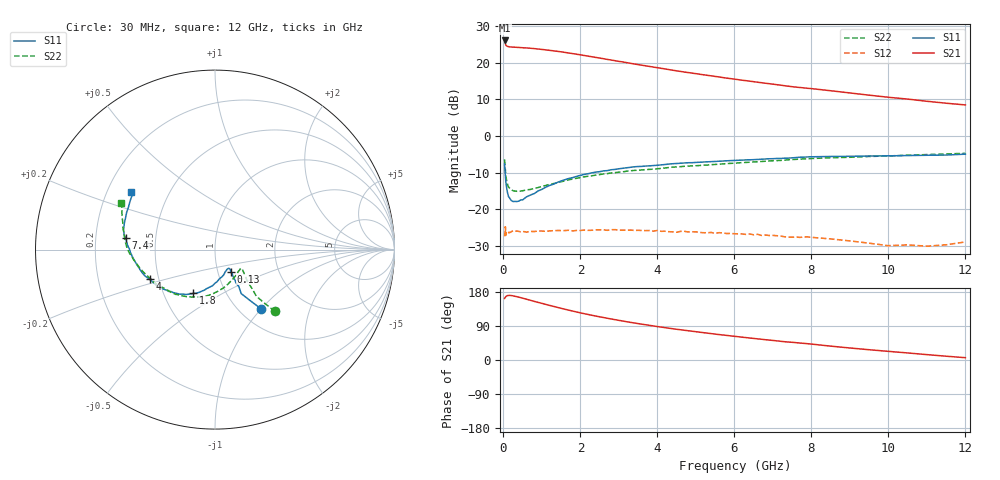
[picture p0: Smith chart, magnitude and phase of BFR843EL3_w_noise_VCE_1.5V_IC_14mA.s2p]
! Infineon Technologies  Discrete & RF Semiconductors
! BFR843EL3
! VCE =  1.5 V,  IC =  14 mA
! Common Emitter S-Parameters:  Aug 2013
# GHz  S  MA  R  50
!  f  S11  S21  S12  S22
! GHz  MAG  ANG  MAG  ANG  MAG  ANG  MAG  ANG
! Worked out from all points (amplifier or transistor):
!   103 points, 30 MHz to 12 GHz, reference 50 ohm
!   highest |S21| = 26.0 dB at 30 MHz (marker M1)
!   |S21| within 3 dB of that: start of sweep to 1.432 GHz
!   unconditionally stable (mu >= 1): 4.918 GHz to end of sweep
!   at 400 MHz: K = 0.99, MSG = 25.0 dB, |S12| = -26.0 dB
!   at 3.7 GHz: K = 0.91, MSG = 22.4 dB, |S12| = -25.7 dB
!   at 12 GHz: K = 2.42, MAG = 12.0 dB, |S12| = -28.8 dB
!   lowest NFmin = 0.97 dB at 450 MHz
!   S11 on the Smith chart (normalised r, x): 30 MHz: 1.25, -0.99; 130 MHz: 1.15, -0.29; 1.8 GHz: 0.71, -0.37; 4 GHz: 0.44, -0.18; 7.4 GHz: 0.33, +0.06; 12 GHz: 0.30, +0.29
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0.03  0.4172 -52.2  19.95 162.5  0.0431 29.7  0.4795 -45.9
0.04  0.3363 -55.9  18.67 164.1  0.0471 24.0  0.395 -47.5
0.06  0.2444 -57.2  17.35 167.0  0.0445 8.9  0.296 -46.3
0.09  0.1865 -56.3  16.73 169.4  0.0484 9.6  0.2385 -42.9
0.13  0.1508 -54.4  16.43 170.3  0.0484 7.4  0.2042 -38.6
0.25  0.1284 -54.0  16.19 169.3  0.0515 3.7  0.1798 -35.4
0.6  0.1487 -70.8  15.78 160.4  0.0492 2.1  0.185 -49.8
0.8  0.1647 -81.5  15.45 154.7  0.0501 2.3  0.1938 -59.5
1.2  0.2125 -98.6  14.64 144.0  0.0512 1.8  0.2195 -78.0
1.5  0.2448 -108.1  13.96 136.3  0.0517 2.1  0.2394 -89.7
1.8  0.2716 -116.2  13.21 129.1  0.0511 0.7  0.2597 -99.3
2.1  0.3003 -123.7  12.45 122.2  0.0526 0.6  0.2783 -108.3
2.5  0.3272 -132.2  11.5 114.0  0.0527 -1.0  0.299 -118.3
3  0.3581 -141.6  10.36 104.6  0.0524 -1.0  0.322 -128.0
4  0.4001 -155.6  8.495 88.2  0.052 -3.1  0.3583 -143.6
4.1  0.4046 -156.6  8.329 86.8  0.0505 -3.1  0.3626 -144.6
5.1  0.4397 -168.1  6.918 73.3  0.0487 -4.5  0.397 -156.7
6.1  0.4678 -176.9  5.842 61.4  0.0466 -4.2  0.431 -166.2
7.4  0.5003 172.8  4.76 47.4  0.0421 -3.8  0.4745 -177.1
8.5  0.5263 163.5  4.13 36.6  0.0398 -4.5  0.5061 173.6
10.5  0.5421 151.5  3.178 18.6  0.033 10.7  0.5472 160.9
12  0.5664 145.4  2.646 6.1  0.0362 27.9  0.5821 153.5
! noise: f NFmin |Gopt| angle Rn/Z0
0.45  0.97  0.06  98  0.12
0.9  0.97  0.06  104  0.12
1.5  0.99  0.07  109  0.1
1.9  1  0.08  114  0.11
2.4  1.01  0.09  119  0.11
3.5  1.04  0.11  132  0.11
5.5  1.08  0.18  159  0.09
8  1.14  0.29  187  0.07
10  1.17  0.42  215  0.06
